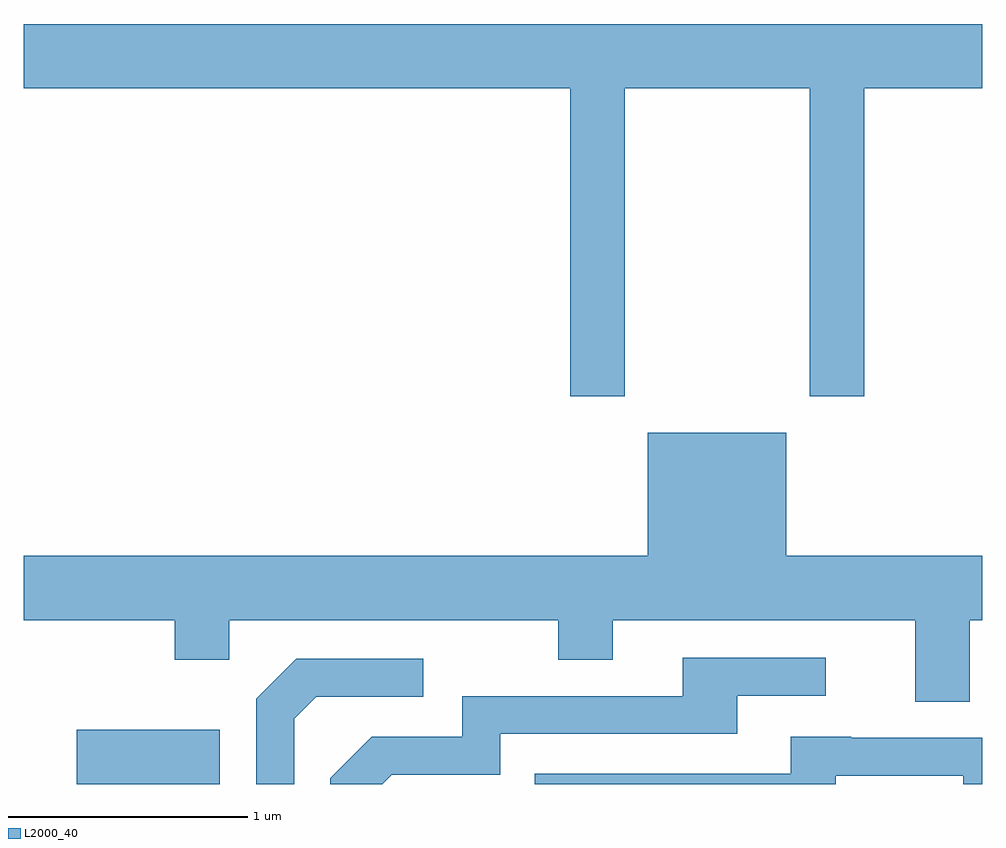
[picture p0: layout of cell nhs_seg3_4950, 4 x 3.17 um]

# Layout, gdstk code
import gdstk
lib = gdstk.Library(unit=1e-6, precision=1e-09)
def R(c, l, rs):  # rectangles x0, y0, x1, y1
    for r in rs: c.add(gdstk.rectangle(r[:2], r[2:], *l))
def P(c, l, *ps):  # polygons
    for p in ps: c.add(gdstk.Polygon(p, *l))
L2000_40 = (2000, 40)

nhs_seg3_4950 = lib.new_cell('nhs_seg3_4950')
R(nhs_seg3_4950, L2000_40, [(329.831,1231.892,330.429,1232.119)])
P(nhs_seg3_4950, L2000_40, [(332.119,1234.796),(332.891,1234.796),(332.891,1233.511),(333.119,1233.511),(333.119,1234.796),(333.611,1234.796),(333.611,1235.064),(329.611,1235.064),(329.611,1234.796),(331.891,1234.796),(331.891,1233.511),(332.119,1233.511)],
  [(333.559,1232.576),(333.611,1232.576),(333.611,1232.844),(332.794,1232.844),(332.794,1233.359),(332.216,1233.359),(332.216,1232.844),(329.611,1232.844),(329.611,1232.576),(330.241,1232.576),(330.241,1232.411),(330.469,1232.411),(330.469,1232.576),(331.841,1232.576),(331.841,1232.411),(332.069,1232.411),(332.069,1232.576),(333.331,1232.576),(333.331,1232.236),(333.559,1232.236)],
  [(331.147,1231.931),(331.599,1231.931),(331.599,1232.101),(332.589,1232.101),(332.589,1232.261),(332.958,1232.261),(332.958,1232.419),(332.361,1232.419),(332.361,1232.259),(331.441,1232.259),(331.441,1232.089),(331.064,1232.089),(330.891,1231.917),(330.891,1231.892),(331.108,1231.892)],
  [(330.739,1232.164),(330.832,1232.256),(331.278,1232.256),(331.278,1232.414),(330.749,1232.414),(330.581,1232.247),(330.581,1231.892),(330.739,1231.892)],
  [(332.999,1231.926),(333.531,1231.926),(333.531,1231.892),(333.611,1231.892),(333.611,1232.084),(333.065,1232.084),(333.065,1232.089),(332.811,1232.089),(332.811,1231.934),(331.743,1231.934),(331.743,1231.892),(332.999,1231.892)])

lib.write_gds('nhs_seg3_4950.gds')
